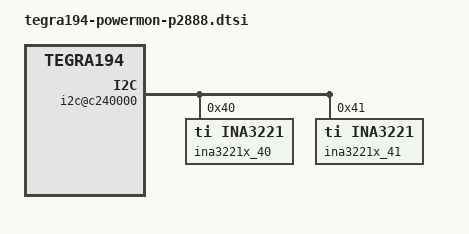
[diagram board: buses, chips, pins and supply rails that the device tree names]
/*
 * Copyright (c) 2017, NVIDIA CORPORATION.  All rights reserved.
 *
 * This program is free software; you can redistribute it and/or modify
 * it under the terms of the GNU General Public License as published by
 * the Free Software Foundation; version 2 of the License.
 *
 * This program is distributed in the hope that it will be useful, but WITHOUT
 * ANY WARRANTY; without even the implied warranty of MERCHANTABILITY or
 * FITNESS FOR A PARTICULAR PURPOSE.  See the GNU General Public License for
 * more details.
 */

/ {
	p2888_shuntv_offset: shuntv-offset {
		offset = <0>;
		range@0 {
			start = <0xFFFFFFD8>;
			end = <0xFFFFFFD8>;
			offset = <40>;
		};
	};

	i2c@c240000 {
		ina3221x_40: ina3221@40 {
			compatible = "ti,ina3221";
			reg = <0x40>;
			#address-cells = <1>;
			#size-cells = <0>;
			#io-channel-cells = <1>;
			channel@0 {
				reg = <0x0>;
				label = "GPU";
				shunt-resistor-micro-ohms = <5000>;
				shunt-volt-offset-uv = <&p2888_shuntv_offset>;
			};
			channel@1 {
				reg = <0x1>;
				label = "CPU";
				shunt-resistor-micro-ohms = <5000>;
				shunt-volt-offset-uv = <&p2888_shuntv_offset>;
			};
			channel@2 {
				reg = <0x2>;
				label = "SOC";
				shunt-resistor-micro-ohms = <5000>;
				shunt-volt-offset-uv = <&p2888_shuntv_offset>;
			};
		};
		ina3221x_41: ina3221@41 {
			compatible = "ti,ina3221";
			reg = <0x41>;
			#address-cells = <1>;
			#size-cells = <0>;
			#io-channel-cells = <1>;
			channel@0 {
				reg = <0x0>;
				label = "CV";
				shunt-resistor-micro-ohms = <5000>;
				shunt-volt-offset-uv = <&p2888_shuntv_offset>;
			};
			channel@1 {
				reg = <0x1>;
				label = "VDDRQ";
				shunt-resistor-micro-ohms = <5000>;
				shunt-volt-offset-uv = <&p2888_shuntv_offset>;
			};
			channel@2 {
				reg = <0x2>;
				label = "SYS5V";
				shunt-resistor-micro-ohms = <5000>;
				shunt-volt-offset-uv = <&p2888_shuntv_offset>;
			};
		};
	};
};
